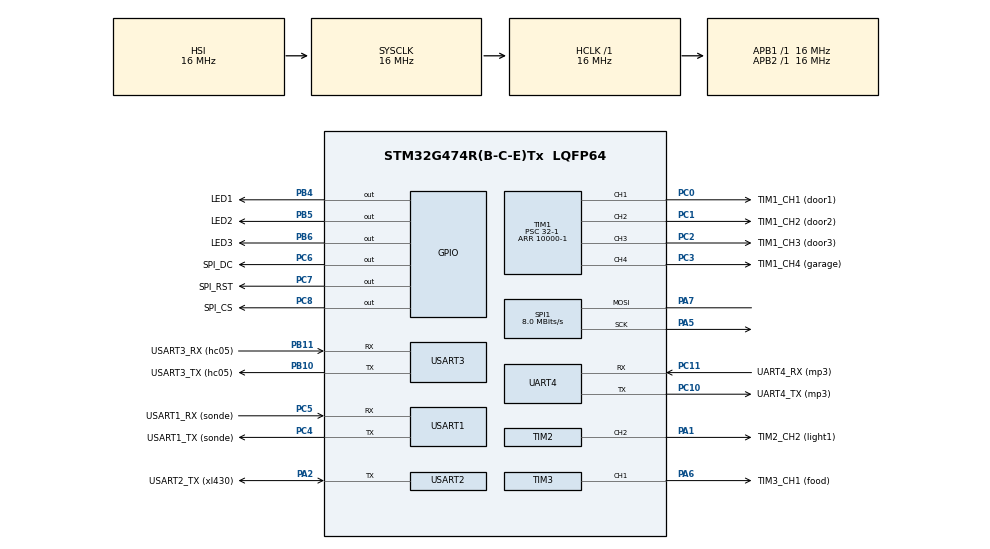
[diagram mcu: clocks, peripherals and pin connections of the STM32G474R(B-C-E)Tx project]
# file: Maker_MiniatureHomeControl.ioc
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Dma.Request0=TIM2_CH2
Dma.TIM2_CH2.0.Direction=DMA_MEMORY_TO_PERIPH
Dma.TIM2_CH2.0.EventEnable=DISABLE
Dma.TIM2_CH2.0.Instance=DMA1_Channel1
Dma.TIM2_CH2.0.MemDataAlignment=DMA_MDATAALIGN_HALFWORD
Dma.TIM2_CH2.0.MemInc=DMA_MINC_ENABLE
Dma.TIM2_CH2.0.Mode=DMA_NORMAL
Dma.TIM2_CH2.0.PeriphDataAlignment=DMA_PDATAALIGN_HALFWORD
Dma.TIM2_CH2.0.PeriphInc=DMA_PINC_DISABLE
Dma.TIM2_CH2.0.Polarity=HAL_DMAMUX_REQ_GEN_RISING
Dma.TIM2_CH2.0.Priority=DMA_PRIORITY_VERY_HIGH
Dma.TIM2_CH2.0.RequestNumber=1
Dma.TIM2_CH2.0.SignalID=NONE
Dma.TIM2_CH2.0.SyncEnable=DISABLE
Dma.TIM2_CH2.0.SyncPolarity=HAL_DMAMUX_SYNC_NO_EVENT
Dma.TIM2_CH2.0.SyncRequestNumber=1
Dma.TIM2_CH2.0.SyncSignalID=NONE
Mcu.Family=STM32G4
Mcu.Name=STM32G474R(B-C-E)Tx
Mcu.Package=LQFP64
NVIC.DMA1_Channel1_IRQn=true\:0\:0\:false\:false\:true\:false\:true\:true
NVIC.PriorityGroup=NVIC_PRIORITYGROUP_4
PA1.GPIO_Label=TIM2_CH2 (light1)
PA1.Signal=S_TIM2_CH2
PA13.Mode=Serial_Wire
PA13.Signal=SYS_JTMS-SWDIO
PA14.Mode=Serial_Wire
PA14.Signal=SYS_JTCK-SWCLK
PA2.GPIO_Label=USART2_TX (xl430)
PA2.Mode=Half_duplex(single_wire_mode)
PA2.Signal=USART2_TX
PA5.Mode=Simplex_Bidirectional_Master
PA5.Signal=SPI1_SCK
PA6.GPIO_Label=TIM3_CH1 (food)
PA6.Signal=S_TIM3_CH1
PA7.Mode=Simplex_Bidirectional_Master
PA7.Signal=SPI1_MOSI
PB10.GPIO_Label=USART3_TX (hc05)
PB10.Mode=Asynchronous
PB10.Signal=USART3_TX
PB11.GPIO_Label=USART3_RX (hc05)
PB11.Mode=Asynchronous
PB11.Signal=USART3_RX
PB4.GPIO_Label=LED1
PB4.Signal=GPIO_Output
PB5.GPIO_Label=LED2
PB5.Signal=GPIO_Output
PB6.GPIO_Label=LED3
PB6.Signal=GPIO_Output
PC0.GPIO_Label=TIM1_CH1 (door1)
PC0.Signal=S_TIM1_CH1
PC1.GPIO_Label=TIM1_CH2 (door2)
PC1.Signal=S_TIM1_CH2
PC10.GPIO_Label=UART4_TX (mp3)
PC10.Mode=Asynchronous
PC10.Signal=UART4_TX
PC11.GPIO_Label=UART4_RX (mp3)
PC11.Mode=Asynchronous
PC11.Signal=UART4_RX
PC2.GPIO_Label=TIM1_CH3 (door3)
PC2.Signal=S_TIM1_CH3
PC3.GPIO_Label=TIM1_CH4 (garage)
PC3.Signal=S_TIM1_CH4
PC4.GPIO_Label=USART1_TX (sonde)
PC4.Mode=Asynchronous
PC4.Signal=USART1_TX
PC5.GPIO_Label=USART1_RX (sonde)
PC5.Mode=Asynchronous
PC5.Signal=USART1_RX
PC6.GPIO_Label=SPI_DC
PC6.Signal=GPIO_Output
PC7.GPIO_Label=SPI_RST
PC7.Signal=GPIO_Output
PC8.GPIO_Label=SPI_CS
PC8.Signal=GPIO_Output
ProjectManager.HeapSize=0x200
ProjectManager.StackSize=0x400
ProjectManager.TargetToolchain=STM32CubeIDE
RCC.AHBFreq_Value=16000000
RCC.APB1Freq_Value=16000000
RCC.APB1TimFreq_Value=16000000
RCC.APB2Freq_Value=16000000
RCC.APB2TimFreq_Value=16000000
RCC.CortexFreq_Value=16000000
RCC.EXTERNAL_CLOCK_VALUE=12288000
RCC.HCLKFreq_Value=16000000
RCC.HSE_VALUE=8000000
RCC.HSI48_VALUE=48000000
RCC.HSI_VALUE=16000000
RCC.LSE_VALUE=32768
RCC.SYSCLKFreq_VALUE=16000000
RCC.USBFreq_Value=64000000
RCC.VCOOutputFreq_Value=128000000
SH.S_TIM1_CH1.0=TIM1_CH1,PWM Generation1 CH1
SH.S_TIM1_CH2.0=TIM1_CH2,PWM Generation2 CH2
SH.S_TIM1_CH3.0=TIM1_CH3,PWM Generation3 CH3
SH.S_TIM1_CH4.0=TIM1_CH4,PWM Generation4 CH4
SH.S_TIM2_CH2.0=TIM2_CH2,PWM Generation2 CH2
SH.S_TIM3_CH1.0=TIM3_CH1,PWM Generation1 CH1
SPI1.CalculateBaudRate=8.0 MBits/s
SPI1.DataSize=SPI_DATASIZE_8BIT
SPI1.Direction=SPI_DIRECTION_1LINE
SPI1.Mode=SPI_MODE_MASTER
SPI1.VirtualType=VM_MASTER
TIM1.Channel-PWM\ Generation1\ CH1=TIM_CHANNEL_1
TIM1.Channel-PWM\ Generation2\ CH2=TIM_CHANNEL_2
TIM1.Channel-PWM\ Generation3\ CH3=TIM_CHANNEL_3
TIM1.Channel-PWM\ Generation4\ CH4=TIM_CHANNEL_4
TIM1.PeriodNoDither=10000-1
TIM1.Prescaler=32-1
TIM2.Channel-PWM\ Generation2\ CH2=TIM_CHANNEL_2
TIM2.PeriodNoDither=20-1
TIM3.Channel-PWM\ Generation1\ CH1=TIM_CHANNEL_1
USART1.VirtualMode-Asynchronous=VM_ASYNC
USART2.VirtualMode-Half_duplex(single_wire_mode)=VM_ASYNC
USART3.VirtualMode-Asynchronous=VM_ASYNC
VP_SYS_VS_DBSignals.Mode=DisableDeadBatterySignals
VP_TIM1_VS_ClockSourceINT.Mode=Internal
VP_TIM3_VS_ClockSourceINT.Mode=Internal
board=custom

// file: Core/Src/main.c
/* USER CODE BEGIN Header */
/**
  ******************************************************************************
  * @file           : main.c
  * @brief          : Main program body
  ******************************************************************************
  * @attention
  *
  * Copyright (c) 2025 STMicroelectronics.
  * All rights reserved.
  *
  * This software is licensed under terms that can be found in the LICENSE file
  * in the root directory of this software component.
  * If no LICENSE file comes with this software, it is provided AS-IS.
  *
  ******************************************************************************
  */
/* USER CODE END Header */
#include "main.h"
#include "dma.h"
#include "spi.h"
#include "tim.h"
#include "usart.h"
#include "gpio.h"

/* USER CODE BEGIN Includes */
#include "fonts.h"
#include "st7735.h"
#include "rat_dance.h"
#include "neopixel.h"
#include "servos.h"
#include "mp3.h"
#include "bluetooth_protocol.h"

/* USER CODE END Includes */

void SystemClock_Config(void);

/* USER CODE BEGIN 0 */
#ifdef __GNUC__
#define PUTCHAR_PROTOTYPE int __io_putchar(int ch)
#define GETCHAR_PROTOTYPE int __io_getchar(void)
#else
#define PUTCHAR_PROTOTYPE int fputc(int ch, FILE *f)
#define GETCHAR_PROTOTYPE int fgetc(FILE *f)
#endif

PUTCHAR_PROTOTYPE {
    HAL_UART_Transmit(&huart2, (uint8_t *)&ch, 1, HAL_MAX_DELAY);
    return ch;
}

GETCHAR_PROTOTYPE
{
	uint8_t ch = 0;

	/* Clear the Overrun flag just before receiving the first character */
	__HAL_UART_CLEAR_OREFLAG(&huart2);

	/* Wait for reception of a character on the USART RX line and echo this
	 * character on console */
	HAL_UART_Receive(&huart2, (uint8_t *)&ch, 1, HAL_MAX_DELAY);
	HAL_UART_Transmit(&huart2, (uint8_t *)&ch, 1, HAL_MAX_DELAY);
	return ch;
}

///////////////////////////////////////////////////////// BLUETOOTH PROTOCOL //////////////////////////////////////////////////////////////////////
char startChar = '@';
char endChar = '#';

uint8_t rx_char; // Variable to store the received character

char instruction[200];
int instructionIndex = 0;

int UARTReceiverState = 0;

volatile int flagUART1 = 0;

void HAL_UART_RxCpltCallback(UART_HandleTypeDef *huart) {
	// Re-enable UART interrupt reception
	HAL_UART_Receive_IT(&huart3, &rx_char, 1);

	instruction[instructionIndex] = rx_char;
	instructionIndex++;

	if (rx_char == '#')
	{
		instruction[instructionIndex] = 0; // 0 character for the printf
		instructionIndex = 0;
		flagUART1 = 1;
	}
}

/* USER CODE END 0 */

int main(void)
{

  /* MCU Configuration--------------------------------------------------------*/

  /* Reset of all peripherals, Initializes the Flash interface and the Systick. */
  HAL_Init();

  /* Configure the system clock */
  SystemClock_Config();

  /* Initialize all configured peripherals */
  MX_GPIO_Init();
  MX_DMA_Init();
  MX_USART1_UART_Init();
  MX_SPI1_Init();
  MX_TIM1_Init();
  MX_TIM2_Init();
  MX_TIM3_Init();
  MX_UART4_Init();
  MX_USART2_UART_Init();
  MX_USART3_UART_Init();

  /* USER CODE BEGIN 2 */

///////////////////////////////////////////////////////////// MP3 PLAYER //////////////////////////////////////////////////////////////////////////
  	mp3_selectStorageDevice();
  	waitNms(20);
  	mp3_setVolume(10);
  	waitNms(20);
  	mp3_playWithIndex(2);

///////////////////////////////////////////////////////////// NEOPIXEL ////////////////////////////////////////////////////////////////////////////
  animateBlink(0xFF0000,2500);

///////////////////////////////////////////////////////////// SERVO MOTORS ////////////////////////////////////////////////////////////////////////////
  h_servo_t servo1;
  servoInit(&servo1,&htim1,TIM_CHANNEL_4);
  turnServo(&servo1);
  HAL_Delay(1000);
  turnServo(&servo1);
  HAL_Delay(1000);

//////////////////////////////////////////////////////////// SPI SCREEN ///////////////////////////////////////////////////////////////////////////
  ST7735_Init();
  ST7735_FillScreen(ST7735_BLACK);
  ST7735_WriteString(0,0,"Hello World !",Font_7x10,ST7735_WHITE,ST7735_BLACK);
  HAL_Delay(300);

  /* USER CODE END 2 */

  /* Infinite loop */
  /* USER CODE BEGIN WHILE */
  while (1)
  {
	  ST7735_DrawImage(0, 0, ST7735_WIDTH, ST7735_HEIGHT, rd_frame00);
	  HAL_Delay(33);
	  ST7735_DrawImage(0, 0, ST7735_WIDTH, ST7735_HEIGHT, rd_frame01);
	  HAL_Delay(33);
	  ST7735_DrawImage(0, 0, ST7735_WIDTH, ST7735_HEIGHT, rd_frame02);
	  HAL_Delay(33);
	  ST7735_DrawImage(0, 0, ST7735_WIDTH, ST7735_HEIGHT, rd_frame03);
	  HAL_Delay(33);
	  ST7735_DrawImage(0, 0, ST7735_WIDTH, ST7735_HEIGHT, rd_frame04);
	  HAL_Delay(33);
	  ST7735_DrawImage(0, 0, ST7735_WIDTH, ST7735_HEIGHT, rd_frame05);
	  HAL_Delay(33);
	  ST7735_DrawImage(0, 0, ST7735_WIDTH, ST7735_HEIGHT, rd_frame06);
	  HAL_Delay(33);
	  ST7735_DrawImage(0, 0, ST7735_WIDTH, ST7735_HEIGHT, rd_frame07);
	  HAL_Delay(33);
	  ST7735_DrawImage(0, 0, ST7735_WIDTH, ST7735_HEIGHT, rd_frame08);
	  HAL_Delay(33);
	  ST7735_DrawImage(0, 0, ST7735_WIDTH, ST7735_HEIGHT, rd_frame09);
	  HAL_Delay(33);
	  ST7735_DrawImage(0, 0, ST7735_WIDTH, ST7735_HEIGHT, rd_frame10);
	  HAL_Delay(33);
	  ST7735_DrawImage(0, 0, ST7735_WIDTH, ST7735_HEIGHT, rd_frame11);
	  HAL_Delay(33);
	  ST7735_DrawImage(0, 0, ST7735_WIDTH, ST7735_HEIGHT, rd_frame12);
	  HAL_Delay(33);
	  ST7735_DrawImage(0, 0, ST7735_WIDTH, ST7735_HEIGHT, rd_frame13);
	  HAL_Delay(33);
	  ST7735_DrawImage(0, 0, ST7735_WIDTH, ST7735_HEIGHT, rd_frame14);
	  HAL_Delay(33);
	  ST7735_DrawImage(0, 0, ST7735_WIDTH, ST7735_HEIGHT, rd_frame15);
	  HAL_Delay(33);
	  ST7735_DrawImage(0, 0, ST7735_WIDTH, ST7735_HEIGHT, rd_frame16);
	  HAL_Delay(33);
	  ST7735_DrawImage(0, 0, ST7735_WIDTH, ST7735_HEIGHT, rd_frame17);
	  HAL_Delay(33);
	  ST7735_DrawImage(0, 0, ST7735_WIDTH, ST7735_HEIGHT, rd_frame18);
	  HAL_Delay(33);
	  ST7735_DrawImage(0, 0, ST7735_WIDTH, ST7735_HEIGHT, rd_frame19);
	  HAL_Delay(33);
	  ST7735_DrawImage(0, 0, ST7735_WIDTH, ST7735_HEIGHT, rd_frame20);
	  HAL_Delay(33);
	  ST7735_DrawImage(0, 0, ST7735_WIDTH, ST7735_HEIGHT, rd_frame21);
	  HAL_Delay(33);

    /* USER CODE END WHILE */

  }
}

void SystemClock_Config(void)
{
  RCC_OscInitTypeDef RCC_OscInitStruct = {0};
  RCC_ClkInitTypeDef RCC_ClkInitStruct = {0};

  /** Configure the main internal regulator output voltage
  */
  HAL_PWREx_ControlVoltageScaling(PWR_REGULATOR_VOLTAGE_SCALE1);

  /** Initializes the RCC Oscillators according to the specified parameters
  * in the RCC_OscInitTypeDef structure.
  */
  RCC_OscInitStruct.OscillatorType = RCC_OSCILLATORTYPE_HSI;
  RCC_OscInitStruct.HSIState = RCC_HSI_ON;
  RCC_OscInitStruct.HSICalibrationValue = RCC_HSICALIBRATION_DEFAULT;
  RCC_OscInitStruct.PLL.PLLState = RCC_PLL_NONE;
  if (HAL_RCC_OscConfig(&RCC_OscInitStruct) != HAL_OK)
  {
    Error_Handler();
  }

  /** Initializes the CPU, AHB and APB buses clocks
  */
  RCC_ClkInitStruct.ClockType = RCC_CLOCKTYPE_HCLK|RCC_CLOCKTYPE_SYSCLK
                              |RCC_CLOCKTYPE_PCLK1|RCC_CLOCKTYPE_PCLK2;
  RCC_ClkInitStruct.SYSCLKSource = RCC_SYSCLKSOURCE_HSI;
  RCC_ClkInitStruct.AHBCLKDivider = RCC_SYSCLK_DIV1;
  RCC_ClkInitStruct.APB1CLKDivider = RCC_HCLK_DIV1;
  RCC_ClkInitStruct.APB2CLKDivider = RCC_HCLK_DIV1;

  if (HAL_RCC_ClockConfig(&RCC_ClkInitStruct, FLASH_LATENCY_0) != HAL_OK)
  {
    Error_Handler();
  }
}

void Error_Handler(void)
{
  __disable_irq();
  while (1)
  {
  }
}
